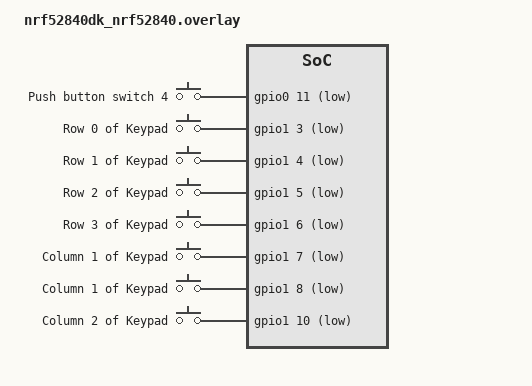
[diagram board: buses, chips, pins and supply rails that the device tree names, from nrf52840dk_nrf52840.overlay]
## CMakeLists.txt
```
#
# Copyright (c) 2018 Nordic Semiconductor
#
# SPDX-License-Identifier: LicenseRef-Nordic-5-Clause
#
cmake_minimum_required(VERSION 3.20.0)

find_package(Zephyr REQUIRED HINTS $ENV{ZEPHYR_BASE})
project(NONE)

# NORDIC SDK APP START
target_sources(app PRIVATE
  src/main.c
  src/gatt_lock_svc.c
  src/gatt_dis_svc.c
  src/keypad.c
  src/gap_advertising.c
  src/gap_connection.c
  src/security.c
)

zephyr_include_directories(
  configuration/${NORMALIZED_BOARD_TARGET}
  )

# NORDIC SDK APP END
zephyr_library_include_directories(.)
```

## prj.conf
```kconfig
#
# Copyright (c) 2018 Nordic Semiconductor
#
# SPDX-License-Identifier: LicenseRef-Nordic-5-Clause
#

# Logger module
CONFIG_LOG=y

# Button and LED library
CONFIG_GPIO=y
#CONFIG_DK_LIBRARY=y

# Bluetooth LE
CONFIG_BT=y
CONFIG_BT_PERIPHERAL=y
CONFIG_BT_DEVICE_NAME="Lock"

# Increase stack size for the main thread and System Workqueue
CONFIG_SYSTEM_WORKQUEUE_STACK_SIZE=2048
CONFIG_MAIN_STACK_SIZE=2048

CONFIG_BT_SMP=y
CONFIG_BT_SMP_APP_PAIRING_ACCEPT=y

# For Bonding
CONFIG_SETTINGS=y
CONFIG_BT_SETTINGS=y
CONFIG_FLASH=y
CONFIG_FLASH_PAGE_LAYOUT=y
CONFIG_FLASH_MAP=y
CONFIG_NVS=y


CONFIG_BT_FILTER_ACCEPT_LIST=y
CONFIG_BT_PRIVACY=y
CONFIG_BT_MAX_PAIRED=5

# Dependencies for APP_EVENT_MANAGER and CAF
CONFIG_HEAP_MEM_POOL_SIZE=2048

# Enable CAF_BUTTONS
CONFIG_CAF=y
CONFIG_CAF_BUTTONS=y
CONFIG_CAF_BUTTONS_POLARITY_INVERSED=y

CONFIG_NEWLIB_LIBC=y


CONFIG_BT_BAS=y
```

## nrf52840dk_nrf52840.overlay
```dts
// To get started, press Ctrl+Space to bring up the completion menu and view the available nodes.

// You can also use the buttons in the sidebar to perform actions on nodes.
// Actions currently available include:

// * Enabling / disabling the node
// * Adding the bus to a bus
// * Removing the node
// * Connecting ADC channels

// For more help, browse the DeviceTree documentation at https://docs.zephyrproject.org/latest/guides/dts/index.html
// You can also visit the nRF DeviceTree extension documentation at https://docs.nordicsemi.com/bundle/nrf-connect-vscode/page/guides/ncs_configure_app.html#devicetree-support-in-the-extension

/ {
	buttons {
		button4: button_4 {
			gpios = <&gpio0 11 (GPIO_ACTIVE_LOW | GPIO_PULL_UP)>;
			label = "Push button switch 4";
		};
	};

	aliases {
		sw4 = &button4;
	};

	keypad {
		compatible = "gpio-keys";
		row0: row_0 {
			gpios = <&gpio1 3 (GPIO_PULL_UP | GPIO_ACTIVE_LOW)>;
			label = "Row 0 of Keypad";
		};
		row1: row_1 {
			gpios = <&gpio1 4 (GPIO_PULL_UP | GPIO_ACTIVE_LOW)>;
			label = "Row 1 of Keypad";
		};
		row2: row_2 {
			gpios = <&gpio1 5 (GPIO_PULL_UP | GPIO_ACTIVE_LOW)>;
			label = "Row 2 of Keypad";
		};
		row3: row_3 {
			gpios = <&gpio1 6 (GPIO_PULL_UP | GPIO_ACTIVE_LOW)>;
			label = "Row 3 of Keypad";
		};
		col0: col_0 {
			gpios = <&gpio1 7 (GPIO_PULL_UP | GPIO_ACTIVE_LOW)>;
			label = "Column 1 of Keypad";
		};
		col1: col_1 {
			gpios = <&gpio1 8 (GPIO_PULL_UP | GPIO_ACTIVE_LOW)>;
			label = "Column 1 of Keypad";
		};
		col2: col_2 {
			gpios = <&gpio1 10 (GPIO_PULL_UP | GPIO_ACTIVE_LOW)>;
			label = "Column 2 of Keypad";
		};
	};
};
```

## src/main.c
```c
/*
 * Copyright (c) 2023 Nordic Semiconductor ASA
 *
 * SPDX-License-Identifier: LicenseRef-Nordic-5-Clause
 */

#include <zephyr/kernel.h>
#include <zephyr/logging/log.h>
#include <zephyr/bluetooth/bluetooth.h>
#include <zephyr/bluetooth/gap.h>
#include <zephyr/bluetooth/uuid.h>
#include <zephyr/bluetooth/conn.h>
#include <zephyr/settings/settings.h>
#include <zephyr/device.h>
#include <zephyr/drivers/gpio.h>
#include <zephyr/bluetooth/services/bas.h>
#include <math.h>

#include <app_event_manager.h>

#define MODULE main
LOG_MODULE_REGISTER(MODULE);
#include <caf/events/module_state_event.h>

#include "lock_svc.h"


#define BT_LE_ADV_CONN_NO_ACCEPT_LIST  BT_LE_ADV_PARAM(BT_LE_ADV_OPT_CONNECTABLE|BT_LE_ADV_OPT_ONE_TIME | BT_LE_ADV_OPT_USE_IDENTITY , \
				       BT_GAP_ADV_FAST_INT_MIN_2, \
				       BT_GAP_ADV_FAST_INT_MAX_2, NULL)

#define BT_LE_ADV_CONN_ACCEPT_LIST BT_LE_ADV_PARAM(BT_LE_ADV_OPT_CONNECTABLE|BT_LE_ADV_OPT_FILTER_CONN|BT_LE_ADV_OPT_ONE_TIME | BT_LE_ADV_OPT_USE_IDENTITY , \
				       BT_GAP_ADV_FAST_INT_MIN_2, \
				       BT_GAP_ADV_FAST_INT_MAX_2, NULL)

#define DEVICE_NAME CONFIG_BT_DEVICE_NAME
#define DEVICE_NAME_LEN (sizeof(DEVICE_NAME) - 1)

#define RUN_LED_BLINK_INTERVAL 1000
#define BUTTON_NODE DT_ALIAS(sw4)

K_MSGQ_DEFINE(device_message_queue, sizeof(uint16_t), 10, 2);

struct k_sem my_sem;

K_SEM_DEFINE(my_sem, 0, 1);

int pass_code = 123456;

static uint8_t battery_level = 100;

void keypad_thread(void *, void *, void *)
{
	uint16_t key = 0;

	//err = k_msgq_get(&device_message_queue, &temp, K_FOREVER);
	int err;
	int temp;
	int passkey;

	while(1)
	{
		LOG_INF("Start of Thread");

		k_sem_take(&my_sem, K_FOREVER);

		for(int i = 0; i < 6; ++i)
		{
			err = k_msgq_get(&device_message_queue, &temp, K_FOREVER);

			passkey = (temp - 48) * pow(10, 5 - i) + passkey;

			if(err == 0)
			{
				LOG_INF("Button Pressed: %c", (char)temp);
			}
		}

		if(pass_code == passkey)
		{
			LOG_INF("Correct PIN");
		}
		else
		{
			LOG_INF("Incorrect PIN");
		}

		LOG_INF("Passkey: %d", passkey);
		LOG_INF("Body of Thread");
		//k_sleep(K_MSEC(RUN_LED_BLINK_INTERVAL));
	}
}



K_THREAD_DEFINE(keypad, 1024,
	keypad_thread, NULL, NULL, NULL,
	1, 0, 0);


static const struct bt_data ad[] = {
	BT_DATA_BYTES(BT_DATA_FLAGS, (BT_LE_AD_GENERAL | BT_LE_AD_NO_BREDR)),
	BT_DATA(BT_DATA_NAME_COMPLETE, DEVICE_NAME, DEVICE_NAME_LEN),
	BT_DATA_BYTES(BT_DATA_UUID128_ALL, BT_UUID_LOCK_VAL),
};

static const struct bt_data sd[] = {
	BT_DATA_BYTES(BT_DATA_UUID128_ALL, BT_UUID_LOCK_VAL),
};



static const struct gpio_dt_spec button_temp = GPIO_DT_SPEC_GET(BUTTON_NODE, gpios);
static struct gpio_callback button_cb_data;
static bool is_bond_delete = 0;


static const struct bt_le_adv_param *adv_param = BT_LE_ADV_PARAM(
	(BT_LE_ADV_OPT_CONNECTABLE |
	 BT_LE_ADV_OPT_USE_IDENTITY), /* Connectable advertising and use identity address */
	800, /* Min Advertising Interval 500ms (800*0.625ms) */
	801, /* Max Advertising Interval 500.625ms (801*0.625ms) */
	NULL); /* Set to NULL for undirected advertising */


static void setup_accept_list_cb(const struct bt_bond_info *info, void *user_data)
{
	int *bond_cnt = user_data;
	if ((*bond_cnt) < 0) {
		return;
	}
	int err = bt_le_filter_accept_list_add(&info->addr);
	LOG_INF("Added following peer to whitelist: %x %x \n",info->addr.a.val[0],info->addr.a.val[1]);
	if (err) {
		LOG_INF("Cannot add peer to Filter Accept List (err: %d)\n", err);
		(*bond_cnt) = -EIO;
	} else {
		(*bond_cnt)++;
	}
}


static int setup_accept_list(uint8_t local_id)
{
	int err = bt_le_filter_accept_list_clear();
	if (err) {
		LOG_INF("Cannot clear Filter Accept List (err: %d)\n", err);
		return err;
	}
	int bond_cnt = 0;
	bt_foreach_bond(local_id, setup_accept_list_cb, &bond_cnt);
	return bond_cnt;
}


void advertise_with_acceptlist(struct k_work *work)
{
	int err=0;
	int allowed_cnt= setup_accept_list(BT_ID_DEFAULT);
	if (allowed_cnt<0){
		LOG_INF("Acceptlist setup failed (err:%d)\n", allowed_cnt);
	} else {
		if (allowed_cnt==0){
			LOG_INF("Advertising with no Filter Accept list\n"); 
			err = bt_le_adv_start(BT_LE_ADV_CONN_NO_ACCEPT_LIST, ad, ARRAY_SIZE(ad),
					sd, ARRAY_SIZE(sd));
		}
		else {
			LOG_INF("Acceptlist setup number  = %d \n",allowed_cnt);
			err = bt_le_adv_start(BT_LE_ADV_CONN_ACCEPT_LIST, ad, ARRAY_SIZE(ad),
				sd, ARRAY_SIZE(sd));	
		}
		if (err) {
		 	LOG_INF("Advertising failed to start (err %d)\n", err);
			return;
		}
		LOG_INF("Advertising successfully started\n");
	}
}
K_WORK_DEFINE(advertise_acceptlist_work, advertise_with_acceptlist);


static void on_connected(struct bt_conn *conn, uint8_t err)
{
	if (err) {
		printk("Connection failed (err %u)\n", err);
		return;
	}

	printk("Connected\n");
}

static void on_disconnected(struct bt_conn *conn, uint8_t reason)
{
	printk("Disconnected (reason %u)\n", reason);
	k_work_submit(&advertise_acceptlist_work);
}

static void on_security_changed(struct bt_conn *conn, bt_security_t level,
			     enum bt_security_err err)
{
	char addr[BT_ADDR_LE_STR_LEN];

	bt_addr_le_to_str(bt_conn_get_dst(conn), addr, sizeof(addr));

	if (!err) {
		LOG_INF("Security changed: %s level %u\n", addr, level);
	} else {
		LOG_INF("Security failed: %s level %u err %d\n", addr, level,
			err);
	}
}

static void auth_passkey_display(struct bt_conn *conn, unsigned int passkey)
{
	char addr[BT_ADDR_LE_STR_LEN];
	bt_addr_le_to_str(bt_conn_get_dst(conn), addr, sizeof(addr));
	LOG_INF("Passkey for %s: %06u\n", addr, passkey);
}

static void auth_cancel(struct bt_conn *conn)
{
	char addr[BT_ADDR_LE_STR_LEN];
	bt_addr_le_to_str(bt_conn_get_dst(conn), addr, sizeof(addr));
	LOG_INF("Pairing cancelled: %s\n", addr);
}

static void auth_passkey_entry(struct bt_conn *conn)
{
	LOG_INF("Passkey");

	int err;
	uint16_t temp;
	uint32_t passkey = 0;

	for(int i = 0; i < 6; ++i)
	{
		err = k_msgq_get(&device_message_queue, &temp, K_FOREVER);

		passkey = (temp - 48) * pow(10, 5 - i) + passkey;

		if(err == 0)
		{
			LOG_INF("Button Pressed: %c", (char)temp);
		}
	}

	LOG_INF("Passkey is: %d", passkey);

	err = bt_conn_auth_passkey_entry(conn, passkey);
	if(err != 0)
	{
		LOG_INF("Error on passkey entry: %d", err);
	}
		
}

static void auth_passkey_confirm(struct bt_conn *conn)
{

}

enum bt_security_err pairing_accept_cb(struct bt_conn *conn, const struct bt_conn_pairing_feat *const feat)
{
	if(feat->io_capability == BT_IO_NO_INPUT_OUTPUT)
	{
		LOG_INF("JUST WORKS, DO NOT ALLOW");
		return BT_SECURITY_ERR_PAIR_NOT_ALLOWED;
	}
}

static struct bt_conn_auth_cb conn_auth_callbacks = {
	.pairing_accept = NULL,
	.passkey_display = NULL,
	.passkey_confirm = NULL,
	.passkey_entry = auth_passkey_entry,
	.cancel = auth_cancel,
};



struct bt_conn_cb connection_callbacks = {
	.connected = on_connected,
	.disconnected = on_disconnected,
	.security_changed = on_security_changed,
};


void button_pressed(const struct device *dev, struct gpio_callback *cb, uint32_t pins)
{
    printk("Button pressed at pin %d\n", button_temp.pin);

	is_bond_delete = true;
}

void simulate_battery_level(void)
{
	if (--battery_level == 0)
	{
		battery_level = 100;
	}

	bt_bas_set_battery_level(battery_level);
}



int main(void)
{
	int err;
	
    if (!device_is_ready(button_temp.port)) {
        printk("Error: button device %s is not ready\n", button_temp.port->name);
        return -1;
    }

    err = gpio_pin_configure_dt(&button_temp, GPIO_INPUT);
    if (err != 0) {
        printk("Error %d: failed to configure %s pin %d\n", err, button_temp.port->name, button_temp.pin);
        return -1;
    }

    err = gpio_pin_interrupt_configure_dt(&button_temp, GPIO_INT_EDGE_TO_ACTIVE);
    if (err != 0) {
        printk("Error %d: failed to configure interrupt on %s pin %d\n", err, button_temp.port->name, button_temp.pin);
        return -1;
    }

    gpio_init_callback(&button_cb_data, button_pressed, BIT(button_temp.pin));
    gpio_add_callback(button_temp.port, &button_cb_data);

    printk("Set up button at %s pin %d\n", button_temp.port->name, button_temp.pin);

	if (app_event_manager_init()) {
		LOG_ERR("Application Event Manager not initialized");
	} else {
		module_set_state(MODULE_STATE_READY);
	}

	simulate_battery_level();

	err = bt_enable(NULL);
	if (err) {
		LOG_ERR("Bluetooth init failed (err %d)\n", err);
		return -1;
	}
	bt_conn_cb_register(&connection_callbacks);

	err = bt_conn_auth_cb_register(&conn_auth_callbacks);
	if (err) {
		LOG_INF("Failed to register authorization callbacks.\n");
		return -1;
	}

	// Restore previous BLE bonds.
	settings_load();

	LOG_INF("Bluetooth initialized\n");

	k_work_submit(&advertise_acceptlist_work);

	LOG_INF("Advertising successfully started\n");

	uint16_t temp;


	

	for (;;) {

		if(is_bond_delete == 1)
		{
			is_bond_delete = 0;
			err = bt_unpair(BT_ID_DEFAULT,BT_ADDR_LE_ANY);

			if (err) {
				LOG_INF("Cannot delete bond (err: %d)\n", err);
			} else	{
				LOG_INF("Bond deleted succesfully \n");
			}	
		}	

		k_sleep(K_MSEC(RUN_LED_BLINK_INTERVAL));
	}
}
```

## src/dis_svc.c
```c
#include <zephyr/bluetooth/bluetooth.h>
#include <zephyr/bluetooth/gatt.h>
#include <zephyr/sys/printk.h>


#define BT_UUID_DIS_FW_REVISION      BT_UUID_DECLARE_16(0x2A26)
#define BT_UUID_DIS_SW_REVISION      BT_UUID_DECLARE_16(0x2A28)
#define BT_UUID_DIS_MANUFACTURER     BT_UUID_DECLARE_16(0x2A29)
#define BT_UUID_DIS_MODEL_NUMBER     BT_UUID_DECLARE_16(0x2A24)


static ssize_t read_extra_field(struct bt_conn *conn,
        const struct bt_gatt_attr *attr,
        void *buf, uint16_t len, uint16_t offset)
{
    const char *value = attr->user_data;
    return bt_gatt_attr_read(conn, attr, buf, len, offset, value, strlen(value));
}


BT_GATT_SERVICE_DEFINE(dis_svc,
    BT_GATT_PRIMARY_SERVICE(BT_UUID_DECLARE_16(0x180A)),

    BT_GATT_CHARACTERISTIC(BT_UUID_DIS_MANUFACTURER,
        BT_GATT_CHRC_READ,
        BT_GATT_PERM_READ,
        read_extra_field, NULL, "Diamond"),

    BT_GATT_CHARACTERISTIC(BT_UUID_DIS_MODEL_NUMBER,
        BT_GATT_CHRC_READ,
        BT_GATT_PERM_READ,
        read_extra_field, NULL, "891242"),


    BT_GATT_CHARACTERISTIC(BT_UUID_DIS_FW_REVISION,
                           BT_GATT_CHRC_READ,
                           BT_GATT_PERM_READ,
                           read_extra_field, NULL, "1.0"),

    BT_GATT_CHARACTERISTIC(BT_UUID_DIS_SW_REVISION,
                           BT_GATT_CHRC_READ,
                           BT_GATT_PERM_READ,
                           read_extra_field, NULL, "0.5")
);
```

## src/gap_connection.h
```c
#ifndef GAP_CONNECTION_H
#define GAP_CONNECTION_H

#include <zephyr/bluetooth/bluetooth.h>
#include <zephyr/bluetooth/conn.h>

extern struct bt_conn_cb connection_callbacks;

#endif /* GAP_CONNECTION_H*/
```

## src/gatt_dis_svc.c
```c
#include <zephyr/bluetooth/bluetooth.h>
#include <zephyr/bluetooth/gatt.h>
#include <zephyr/sys/printk.h>


#define BT_UUID_DIS_FW_REVISION      BT_UUID_DECLARE_16(0x2A26)
#define BT_UUID_DIS_SW_REVISION      BT_UUID_DECLARE_16(0x2A28)
#define BT_UUID_DIS_MANUFACTURER     BT_UUID_DECLARE_16(0x2A29)
#define BT_UUID_DIS_MODEL_NUM        BT_UUID_DECLARE_16(0x2A24)


static ssize_t read_extra_field(struct bt_conn *conn,
        const struct bt_gatt_attr *attr,
        void *buf, uint16_t len, uint16_t offset)
{
    const char *value = attr->user_data;
    return bt_gatt_attr_read(conn, attr, buf, len, offset, value, strlen(value));
}


BT_GATT_SERVICE_DEFINE(dis_svc,
    BT_GATT_PRIMARY_SERVICE(BT_UUID_DECLARE_16(0x180A)),

    BT_GATT_CHARACTERISTIC(BT_UUID_DIS_MANUFACTURER,
        BT_GATT_CHRC_READ,
        BT_GATT_PERM_READ,
        read_extra_field, NULL, "Diamond"),

    BT_GATT_CHARACTERISTIC(BT_UUID_DIS_MODEL_NUM,
        BT_GATT_CHRC_READ,
        BT_GATT_PERM_READ,
        read_extra_field, NULL, "891242"),


    BT_GATT_CHARACTERISTIC(BT_UUID_DIS_FW_REVISION,
                           BT_GATT_CHRC_READ,
                           BT_GATT_PERM_READ,
                           read_extra_field, NULL, "1.0"),

    BT_GATT_CHARACTERISTIC(BT_UUID_DIS_SW_REVISION,
                           BT_GATT_CHRC_READ,
                           BT_GATT_PERM_READ,
                           read_extra_field, NULL, "0.5")
);
```

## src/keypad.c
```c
/*
 * Copyright (c) 2021 Nordic Semiconductor ASA
 *
 * SPDX-License-Identifier: LicenseRef-Nordic-5-Clause
 */

 #include <stdint.h>
 #include <zephyr/kernel.h>
 
#define MODULE keypad
#include <caf/events/module_state_event.h>
#include <caf/events/button_event.h>

#include <zephyr/logging/log.h>
LOG_MODULE_REGISTER(MODULE, 3);

#define MAX_ROW	4
#define MAX_COLUMN	3

extern struct k_msgq device_message_queue; 

static char keypad_mapping[MAX_ROW][MAX_COLUMN] = 
{
    {'1', '2', '3'},
    {'4', '5', '6'},
    {'7', '8', '9'},
    {'*', '0', '#'}
};

enum button_id {
    BUTTON_ID_NEXT_EFFECT,
    BUTTON_ID_NEXT_LED,

    BUTTON_ID_COUNT
};

extern struct k_sem my_sem;

static bool handle_button_event(const struct button_event *evt)
{
    if (evt->pressed) {

        uint8_t row;
        uint8_t column;

        row = evt->key_id & (0x007FU);
        column = (evt->key_id & (0x3F80U)) >> 7;

        int ret = 0;

        uint16_t pressed;

        pressed = keypad_mapping[row][column];

        if(pressed == '#')
        {
            k_sem_give(&my_sem);
        }
        else
        {
            ret = k_msgq_put(&device_message_queue, &pressed , K_FOREVER);
        }

        if (ret){
            LOG_ERR("Return value from k_msgq_put = %d",ret);
        }

        LOG_INF("Row: %d, Column: %d", row, column);
        LOG_INF("Pressed: %c", keypad_mapping[row][column]);
    }

    return false;
}

static bool app_event_handler(const struct app_event_header *aeh)
{
    if (is_button_event(aeh)) {
        return handle_button_event(cast_button_event(aeh));
    }

    /* Event not handled but subscribed. */
    __ASSERT_NO_MSG(false);

    return false;
}

APP_EVENT_LISTENER(MODULE, app_event_handler);
APP_EVENT_SUBSCRIBE(MODULE, button_event);
```

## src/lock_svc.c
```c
/*
 * Copyright (c) 2018 Nordic Semiconductor ASA
 *
 * SPDX-License-Identifier: LicenseRef-Nordic-5-Clause
 */

/** @file
 *  @brief LED Button Service (LBS) sample
 */

#include <zephyr/types.h>
#include <stddef.h>
#include <string.h>
#include <errno.h>
#include <zephyr/sys/printk.h>
#include <zephyr/sys/byteorder.h>
#include <zephyr/kernel.h>

#include <zephyr/bluetooth/bluetooth.h>
#include <zephyr/bluetooth/hci.h>
#include <zephyr/bluetooth/conn.h>
#include <zephyr/bluetooth/uuid.h>
#include <zephyr/bluetooth/gatt.h>

#include "lock_svc.h"

#include <zephyr/logging/log.h>

LOG_MODULE_DECLARE(smart_door_lock);

static bool button_state;

static ssize_t write_led(struct bt_conn *conn,
			 const struct bt_gatt_attr *attr,
			 const void *buf,
			 uint16_t len, uint16_t offset, uint8_t flags)
{
	LOG_DBG("Attribute write, handle: %u, conn: %p", attr->handle,
		(void *)conn);

	if (len != 1U) {
		LOG_DBG("Write led: Incorrect data length");
		return BT_GATT_ERR(BT_ATT_ERR_INVALID_ATTRIBUTE_LEN);
	}

	if (offset != 0) {
		LOG_DBG("Write led: Incorrect data offset");
		return BT_GATT_ERR(BT_ATT_ERR_INVALID_OFFSET);
	}

	//Read the received value 
	uint8_t val = *((uint8_t *)buf);

	if (val == 0x00 || val == 0x01) {
		//Call the application callback function to update the LED state
		//lbs_cb.led_cb(val ? true : false);
	} else {
		LOG_DBG("Write led: Incorrect value");
		return BT_GATT_ERR(BT_ATT_ERR_VALUE_NOT_ALLOWED);
	}

	return len;
}


static ssize_t read_button(struct bt_conn *conn,
			  const struct bt_gatt_attr *attr,
			  void *buf,
			  uint16_t len,
			  uint16_t offset)
{
	//get a pointer to button_state which is passed in the BT_GATT_CHARACTERISTIC() and stored in attr->user_data
	const char *value = attr->user_data;

	LOG_DBG("Attribute read, handle: %u, conn: %p", attr->handle,
		(void *)conn);


	return bt_gatt_attr_read(conn, attr, buf, len, offset, value,
					sizeof(*value));
	
}

/* Lock Service Declaration */
BT_GATT_SERVICE_DEFINE(
	lock_svc, BT_GATT_PRIMARY_SERVICE(BT_UUID_LOCK),
	BT_GATT_CHARACTERISTIC(BT_UUID_LOCK_PIN,
			       BT_GATT_CHRC_WRITE,
			       BT_GATT_PERM_READ_ENCRYPT ,
			       NULL, write_led, NULL),
	BT_GATT_CHARACTERISTIC(BT_UUID_LOCK_STATE,
			       BT_GATT_CHRC_READ,
			       BT_GATT_PERM_READ_ENCRYPT , read_button, NULL,
			       &button_state),

);
```

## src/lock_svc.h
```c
/*
 * Copyright (c) 2018 Nordic Semiconductor ASA
 *
 * SPDX-License-Identifier: LicenseRef-Nordic-5-Clause
 */

#ifndef BT_LBS_H_
#define BT_LBS_H_

/**@file
 * @defgroup bt_lock_svc Lock Service API
 * @{
 * @brief API for the Lock Service.
 */

#ifdef __cplusplus
extern "C" {
#endif

#include <zephyr/types.h>


#define BT_UUID_LOCK_VAL	\
	BT_UUID_128_ENCODE(0x1c376f00, 0x468f, 0xEFDE, 0x8652, 0x4183255a1de3)

#define BT_UUID_LOCK_PIN_VAL \
	BT_UUID_128_ENCODE(0x1c376f01, 0x468f, 0xEFDE, 0x8652, 0x4183255a1de3)

#define BT_UUID_LOCK_STATE_VAL \
	BT_UUID_128_ENCODE(0x1c376f02, 0x468f, 0xEFDE, 0x8652, 0x4183255a1de3)

#define BT_UUID_LOCK           BT_UUID_DECLARE_128(BT_UUID_LOCK_VAL)
#define BT_UUID_LOCK_PIN    BT_UUID_DECLARE_128(BT_UUID_LOCK_PIN_VAL)
#define BT_UUID_LOCK_STATE       BT_UUID_DECLARE_128(BT_UUID_LOCK_STATE_VAL)

/** @brief Callback type for when an LED state change is received. */
typedef void (*led_cb_t)(const bool led_state);

/** @brief Callback type for when the button state is pulled. */
typedef bool (*button_cb_t)(void);

/** @brief Callback struct used by the LBS Service. */
struct my_lbs_cb {
	/** LED state change callback. */
	led_cb_t led_cb;
	/** Button read callback. */
	button_cb_t button_cb;
};

/** @brief Initialize the LBS Service.
 *
 * This function registers application callback functions with the My LBS
 * Service
 *
 * @param[in] callbacks Struct containing pointers to callback functions
 *			used by the service. This pointer can be NULL
 *			if no callback functions are defined.
 *
 *
 * @retval 0 If the operation was successful.
 *           Otherwise, a (negative) error code is returned.
 */
int my_lbs_init(struct my_lbs_cb *callbacks);

#ifdef __cplusplus
}
#endif

/**
 * @}
 */

#endif /* BT_LBS_H_ */
```

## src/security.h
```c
#include <zephyr/bluetooth/conn.h>

extern struct bt_conn_auth_cb conn_auth_callbacks;
```
